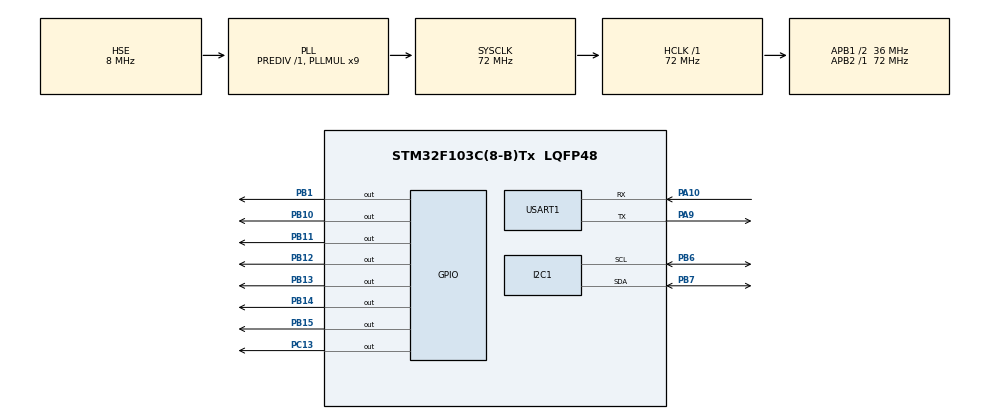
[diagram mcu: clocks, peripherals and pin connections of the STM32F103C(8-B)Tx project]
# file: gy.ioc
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I2C1.I2C_Mode=I2C_Fast
Mcu.Family=STM32F1
Mcu.Name=STM32F103C(8-B)Tx
Mcu.Package=LQFP48
NVIC.PriorityGroup=NVIC_PRIORITYGROUP_4
NVIC.USART1_IRQn=true\:1\:0\:true\:false\:true\:true\:true
PA10.Mode=Asynchronous
PA10.Signal=USART1_RX
PA13.Mode=Serial_Wire
PA13.Signal=SYS_JTMS-SWDIO
PA14.Mode=Serial_Wire
PA14.Signal=SYS_JTCK-SWCLK
PA9.Mode=Asynchronous
PA9.Signal=USART1_TX
PB1.Signal=GPIO_Output
PB10.Signal=GPIO_Output
PB11.Signal=GPIO_Output
PB12.Signal=GPIO_Output
PB13.Signal=GPIO_Output
PB14.Signal=GPIO_Output
PB15.Signal=GPIO_Output
PB6.Mode=I2C
PB6.Signal=I2C1_SCL
PB7.Mode=I2C
PB7.Signal=I2C1_SDA
PC13-TAMPER-RTC.Signal=GPIO_Output
PD0-OSC_IN.Mode=HSE-External-Oscillator
PD0-OSC_IN.Signal=RCC_OSC_IN
PD1-OSC_OUT.Mode=HSE-External-Oscillator
PD1-OSC_OUT.Signal=RCC_OSC_OUT
ProjectManager.HeapSize=0x200
ProjectManager.StackSize=0x400
ProjectManager.TargetToolchain=MDK-ARM V5.27
RCC.AHBFreq_Value=72000000
RCC.APB1CLKDivider=RCC_HCLK_DIV2
RCC.APB1Freq_Value=36000000
RCC.APB1TimFreq_Value=72000000
RCC.APB2Freq_Value=72000000
RCC.APB2TimFreq_Value=72000000
RCC.HCLKFreq_Value=72000000
RCC.PLLMUL=RCC_PLL_MUL9
RCC.PLLSourceVirtual=RCC_PLLSOURCE_HSE
RCC.SYSCLKFreq_VALUE=72000000
RCC.SYSCLKSource=RCC_SYSCLKSOURCE_PLLCLK
RCC.USBFreq_Value=72000000
USART1.VirtualMode=VM_ASYNC
board=custom

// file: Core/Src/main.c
/* USER CODE BEGIN Header */
/**
  ******************************************************************************
  * @file           : main.c
  * @brief          : Main program body
  ******************************************************************************
  * @attention
  *
  * <h2><center>&copy; Copyright (c) 2021 STMicroelectronics.
  * All rights reserved.</center></h2>
  *
  * This software component is licensed by ST under BSD 3-Clause license,
  * the "License"; You may not use this file except in compliance with the
  * License. You may obtain a copy of the License at:
  *                        opensource.org/licenses/BSD-3-Clause
  *
  ******************************************************************************
  */
/* USER CODE END Header */
#include "main.h"
#include "i2c.h"
#include "usart.h"
#include "gpio.h"

/* USER CODE BEGIN Includes */
#include "mpu6050.h"
#include "dgh_esp8266.h"
#include "character_lcd.h"

/* USER CODE END Includes */

/* USER CODE BEGIN PV */
MPU6050_t MPU6050;
double x, y, z;
double abs_x, abs_y, abs_z;
char temp, c_max, pn; //pn: +/-
double limit = 8;
uint8_t tcp_flag = 0, ma = 30;
//uint8_t cnt = 0;

/* USER CODE END PV */

void SystemClock_Config(void);
/* USER CODE BEGIN PFP */
char max3(double, double, double);
double my_abs(double);

/* USER CODE END PFP */

int main(void)
{

  /* MCU Configuration--------------------------------------------------------*/

  /* Reset of all peripherals, Initializes the Flash interface and the Systick. */
  HAL_Init();

  /* Configure the system clock */
  SystemClock_Config();

  /* Initialize all configured peripherals */
  MX_GPIO_Init();
  MX_I2C1_Init();
  MX_USART1_UART_Init();
  /* USER CODE BEGIN 2 */

  LCD_Config.Font = _FONT_5X7;
  LCD_Config.Mode = _4BIT_INTERFACE;
  LCD_Config.NumberOfLine = _2LINE_DISPLAY;
  LCD_Init();
  HAL_Delay(1);
  LCD_GotoXY(0, 0);
  LCD_PutString("   WELCOME! :)");
  HAL_Delay(2000);
  LCD_Clear();

	if(ESP_IsDeviceReady() == HAL_OK)
	{
		LCD_PutString("ESP Ready");
		HAL_Delay(3000);
		LCD_Clear();
	}
	if(ESP_StartConnection("192.168.43.153", 333) == HAL_OK)
	{
		tcp_flag = 1;
		LCD_PutString("TCP Connected");
		HAL_Delay(2000);
		LCD_Clear();
	}
	else
	{
		tcp_flag = 0;
		LCD_PutString("TCP Failed");
		HAL_Delay(2000);
		LCD_Clear();
	}

	while(MPU6050_Init(&hi2c1) == 1){};
	LCD_PutString("GY-521 OK");
	HAL_Delay(2000);
	LCD_Clear();

  /* USER CODE END 2 */

  /* Infinite loop */
  while (1)
  {

    /* USER CODE BEGIN 3 */
		x = 0; y = 0; z = 0;
		for(uint8_t i=0; i<ma; i+=1)
		{
			MPU6050_Read_All(&hi2c1, &MPU6050);
			x += MPU6050.Gx;
			y += MPU6050.Gy;
			z += MPU6050.Gz;
		}
		abs_x = my_abs(x)/ma;
		abs_y = my_abs(y)/ma;
		abs_z = my_abs(z)/ma;
		temp = max3(abs_x, abs_y, abs_z);
		if(c_max == '-')
			pn = '-';
		else if(c_max == 'x')
		{
			if(x > 0)
				pn = 'p';
			else
				pn = 'n';
		}
		else if(c_max == 'y')
		{
			if(y > 0)
				pn = 'p';
			else
				pn = 'n';
		}
		else
		{
			if(z > 0)
				pn = 'p';
			else
				pn = 'n';
		}
		if(tcp_flag)
		{
			ESP_Transmit(c_max, pn);
		}
		HAL_GPIO_TogglePin(GPIOC, GPIO_PIN_13);
		LCD_GotoXY(0, 0);
		LCD_PutChar(c_max);
		LCD_GotoXY(1, 0);
		LCD_PutChar(pn);
		HAL_Delay(100);
  }
}

char max3(double x, double y, double z)
{
	if(x > y)
	{
		if(x > z)  //x>z,y
		{
			if(x > limit)
				c_max = 'x';
			else
				c_max = '-';
			return 'x';
		}
		else  //z>x>y
		{
			if(z > limit)
				c_max = 'z';
			else
				c_max = '-';
			return 'z';
		}
	}
	else if(y > z)  //y>x,z
	{
		if(y > limit)
			c_max = 'y';
		else
			c_max = '-';
		return 'y';
	}
	if(z > limit)  //z>y>x
		c_max = 'z';
	else
		c_max = '-';
	return 'z';
}

double my_abs(double x)
{
	if(x > 0)
		return x;
	return -1*x;
}
  /* USER CODE END 3 */

void SystemClock_Config(void)
{
  RCC_OscInitTypeDef RCC_OscInitStruct = {0};
  RCC_ClkInitTypeDef RCC_ClkInitStruct = {0};

  /** Initializes the RCC Oscillators according to the specified parameters
  * in the RCC_OscInitTypeDef structure.
  */
  RCC_OscInitStruct.OscillatorType = RCC_OSCILLATORTYPE_HSE;
  RCC_OscInitStruct.HSEState = RCC_HSE_ON;
  RCC_OscInitStruct.HSEPredivValue = RCC_HSE_PREDIV_DIV1;
  RCC_OscInitStruct.HSIState = RCC_HSI_ON;
  RCC_OscInitStruct.PLL.PLLState = RCC_PLL_ON;
  RCC_OscInitStruct.PLL.PLLSource = RCC_PLLSOURCE_HSE;
  RCC_OscInitStruct.PLL.PLLMUL = RCC_PLL_MUL9;
  if (HAL_RCC_OscConfig(&RCC_OscInitStruct) != HAL_OK)
  {
    Error_Handler();
  }
  /** Initializes the CPU, AHB and APB buses clocks
  */
  RCC_ClkInitStruct.ClockType = RCC_CLOCKTYPE_HCLK|RCC_CLOCKTYPE_SYSCLK
                              |RCC_CLOCKTYPE_PCLK1|RCC_CLOCKTYPE_PCLK2;
  RCC_ClkInitStruct.SYSCLKSource = RCC_SYSCLKSOURCE_PLLCLK;
  RCC_ClkInitStruct.AHBCLKDivider = RCC_SYSCLK_DIV1;
  RCC_ClkInitStruct.APB1CLKDivider = RCC_HCLK_DIV2;
  RCC_ClkInitStruct.APB2CLKDivider = RCC_HCLK_DIV1;

  if (HAL_RCC_ClockConfig(&RCC_ClkInitStruct, FLASH_LATENCY_2) != HAL_OK)
  {
    Error_Handler();
  }
}

void Error_Handler(void)
{
}

/************************ (C) COPYRIGHT STMicroelectronics *****END OF FILE****/
